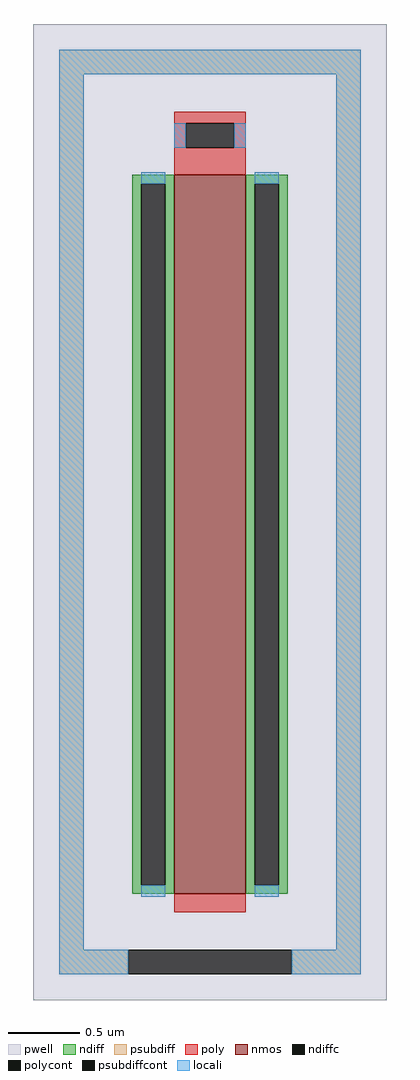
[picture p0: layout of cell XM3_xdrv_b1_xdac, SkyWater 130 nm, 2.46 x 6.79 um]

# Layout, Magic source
magic
tech sky130A
magscale 1 2
<< pwell >>
rect -246 -679 246 679
<< nmos >>
rect -50 -531 50 469
<< ndiff >>
rect -108 457 -50 469
rect -108 -519 -96 457
rect -62 -519 -50 457
rect -108 -531 -50 -519
rect 50 457 108 469
rect 50 -519 62 457
rect 96 -519 108 457
rect 50 -531 108 -519
<< ndiffc >>
rect -96 -519 -62 457
rect 62 -519 96 457
<< psubdiff >>
rect -210 609 210 643
rect -210 -609 -176 609
rect 176 -609 210 609
rect -210 -643 -114 -609
rect 114 -643 210 -609
<< psubdiffcont >>
rect -114 -643 114 -609
<< poly >>
rect -50 541 50 557
rect -50 507 -34 541
rect 34 507 50 541
rect -50 469 50 507
rect -50 -557 50 -531
<< polycont >>
rect -34 507 34 541
<< locali >>
rect -210 609 210 643
rect -210 -609 -176 609
rect -50 507 -34 541
rect 34 507 50 541
rect -96 457 -62 473
rect -96 -535 -62 -519
rect 62 457 96 473
rect 62 -535 96 -519
rect 176 -609 210 609
rect -210 -643 -114 -609
rect 114 -643 210 -609
<< properties >>
string FIXED_BBOX -193 -626 193 626
<< end >>
